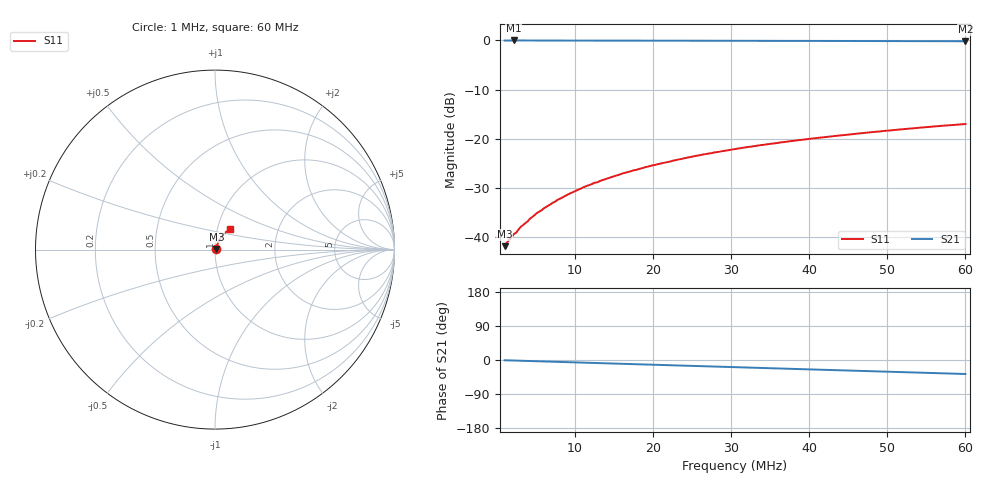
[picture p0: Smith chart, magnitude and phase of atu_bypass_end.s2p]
! S11/S21 from S-A-A-2 VNA
! Written 2026-11-14 07:56:38 by the saav2 MCP server
! S12 and S22 were not measured (1.5-port VNA) and are written as 0
# HZ S RI R 50
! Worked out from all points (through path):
!   201 points, 1 MHz to 60 MHz, reference 50 ohm
!   highest |S21| = -0.01 dB at 2.18 MHz (marker M1); lowest = -0.2 dB at 60 MHz (marker M2)
!   group delay of S21, straight-line fit = 1.7 ns
!   lowest |S11| = -41.9 dB at 1 MHz (marker M3), VSWR 1.02, Z = 50.7 + j0.325 ohm
!   |S11| at or under -10 dB: start of sweep to end of sweep
!   S12 and S22 are empty: the file has one direction only
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1000000  0.0074 0.0032  0.9961 -0.0123  0 0  0 0
1295000  0.00759 0.00444  0.9967 -0.0143  0 0  0 0
2180000  0.00821 0.00685  0.9981 -0.0239  0 0  0 0
2475000  0.00823 0.00734  0.9976 -0.0277  0 0  0 0
3065000  0.00873 0.00922  0.9972 -0.0341  0 0  0 0
3950000  0.00898 0.0113  0.996 -0.0443  0 0  0 0
4245000  0.0092 0.0123  0.9966 -0.0471  0 0  0 0
5130000  0.00973 0.0146  0.9954 -0.0571  0 0  0 0
5720000  0.01 0.0157  0.9948 -0.0632  0 0  0 0
6015000  0.0102 0.0167  0.9941 -0.0666  0 0  0 0
7785000  0.0113 0.021  0.992 -0.0855  0 0  0 0
1.103e7  0.0135 0.0288  0.9877 -0.1199  0 0  0 0
1.2505e7  0.0145 0.0325  0.9854 -0.1356  0 0  0 0
1.28e7  0.0149 0.0326  0.9847 -0.1386  0 0  0 0
1.6045e7  0.0178 0.0404  0.9786 -0.1728  0 0  0 0
2.0765e7  0.0225 0.0506  0.9677 -0.2218  0 0  0 0
2.519e7  0.028 0.06  0.955 -0.2678  0 0  0 0
3.05e7  0.0348 0.0703  0.9371 -0.3209  0 0  0 0
3.3745e7  0.0393 0.0765  0.9241 -0.3531  0 0  0 0
4.053e7  0.0494 0.0876  0.8948 -0.418  0 0  0 0
5.0265e7  0.0661 0.1016  0.8436 -0.5063  0 0  0 0
6e7  0.0849 0.1126  0.7832 -0.589  0 0  0 0
